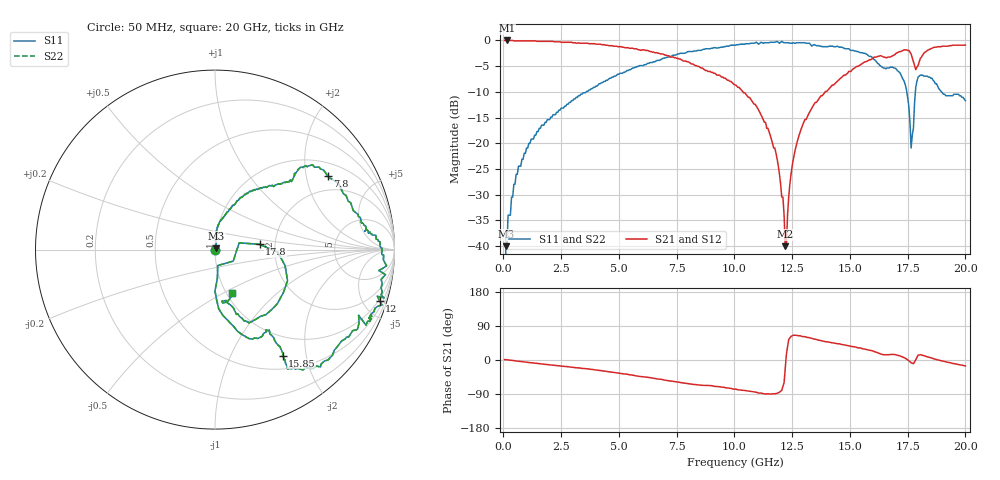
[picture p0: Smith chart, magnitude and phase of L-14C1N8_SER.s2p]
# MHZ S MA R 50
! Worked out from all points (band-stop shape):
!   400 points, 50 MHz to 20 GHz, reference 50 ohm
!   highest |S21| = 0.00 dB at 150 MHz (marker M1); lowest = -40.0 dB at 12.2 GHz (marker M2)
!   |S21| within 3 dB of the highest: start of sweep to 7.16 GHz; 18.13 GHz to end of sweep (the widest 2 of 4)
!   lowest |S11| = -40.0 dB at 100 MHz (marker M3), VSWR 1.02, Z = 50.7 + j0.729 ohm
!   |S11| at or under -10 dB: start of sweep to 3.581 GHz; 17.46 GHz to 17.83 GHz (371.9 MHz wide, 2.11 % of centre); 18.97 GHz to end of sweep
!   |S22| runs from - to -0.2 dB; largest |S21 - S12| = 0
!   S11 on the Smith chart (normalised r, x): 50 MHz: 1.00, +0.00; 7.8 GHz: 1.42, +2.67; 12 GHz: 0.90, -6.49; 15.85 GHz: 0.69, -1.60; 17.8 GHz: 1.66, +0.10; 20 GHz: 1.07, -0.55
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50  0 19.6  1 1.1  1 1.1  0 19.6
100  0.01 46.0  1 0.9  1 0.9  0.01 46.0
150  0.01 72.4  1 0.6  1 0.6  0.01 72.4
200  0.02 75.0  1 0.2  1 0.2  0.02 75.0
450  0.04 77.7  0.99 -1.5  0.99 -1.5  0.04 77.7
1100  0.1 85.7  0.99 -6.5  0.99 -6.5  0.1 85.7
3400  0.3 65.1  0.94 -22.1  0.94 -22.1  0.3 65.1
6700  0.64 43.9  0.75 -50.2  0.75 -50.2  0.64 43.9
7800  0.75 33.3  0.63 -60.7  0.63 -60.7  0.75 33.3
10050  0.9 3.7  0.37 -76.8  0.37 -76.8  0.9 3.7
11350  0.95 -12.4  0.16 -89.7  0.16 -89.7  0.95 -12.4
12000  0.96 -17.2  0.04 -82.5  0.04 -82.5  0.96 -17.2
12200  0.95 -20.8  0.01 -22.4  0.01 -22.4  0.95 -20.8
12550  0.95 -23.0  0.07 65.3  0.07 65.3  0.95 -23.0
13350  0.88 -24.6  0.22 57.0  0.22 57.0  0.88 -24.6
15850  0.7 -57.5  0.65 25.9  0.65 25.9  0.7 -57.5
16700  0.54 -59.9  0.69 14.1  0.69 14.1  0.54 -59.9
17400  0.37 -83.1  0.81 4.4  0.81 4.4  0.37 -83.1
17650  0.09 -80.4  0.74 -7.3  0.74 -7.3  0.09 -80.4
17800  0.25 6.7  0.57 -4.8  0.57 -4.8  0.25 6.7
18350  0.45 -65.3  0.8 8.2  0.8 8.2  0.45 -65.3
20000  0.26 -68.0  0.9 -15.6  0.9 -15.6  0.26 -68.0
